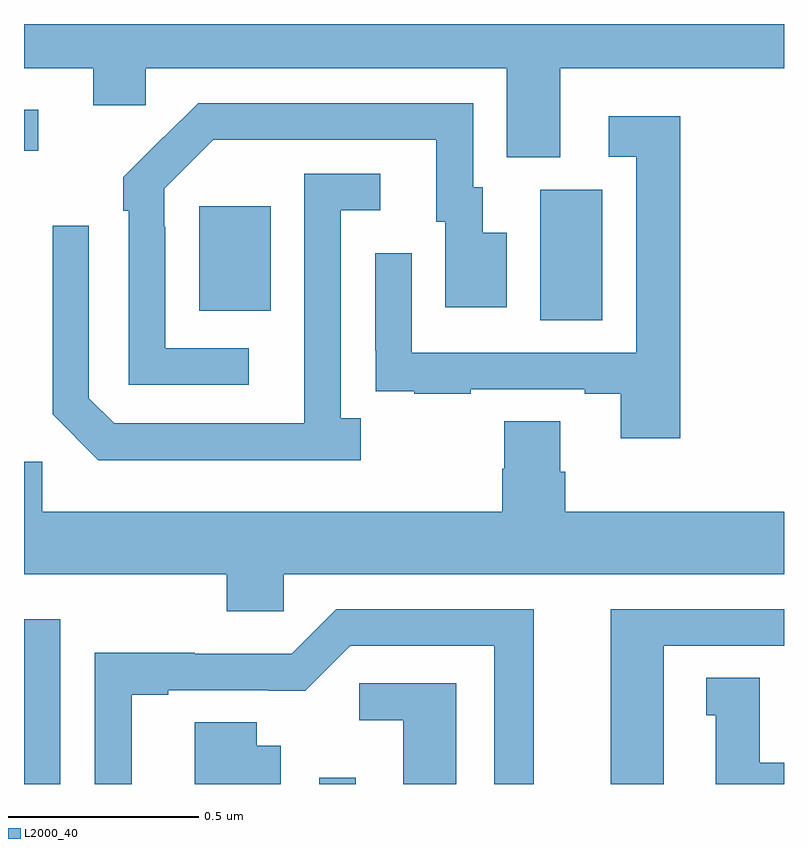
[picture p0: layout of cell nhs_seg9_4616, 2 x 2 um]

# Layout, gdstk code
import gdstk
lib = gdstk.Library(unit=1e-6, precision=1e-09)
def R(c, l, rs):  # rectangles x0, y0, x1, y1
    for r in rs: c.add(gdstk.rectangle(r[:2], r[2:], *l))
def P(c, l, *ps):  # polygons
    for p in ps: c.add(gdstk.Polygon(p, *l))
L2000_40 = (2000, 40)

nhs_seg9_4616 = lib.new_cell('nhs_seg9_4616')
R(nhs_seg9_4616, L2000_40, [(168,1230.5,168.096,1230.933), (168.777,1230.5,168.873,1230.517), (169.358,1231.72,169.522,1232.064), (168.461,1231.745,168.649,1232.02), (168,1232.166,168.037,1232.274)])
P(nhs_seg9_4616, L2000_40, [(169.411,1232.384),(170,1232.384),(170,1232.5),(168,1232.5),(168,1232.384),(168.182,1232.384),(168.182,1232.286),(168.321,1232.286),(168.321,1232.384),(169.271,1232.384),(169.271,1232.149),(169.411,1232.149)],
  [(168.592,1231.647),(168.372,1231.647),(168.372,1231.967),(168.369,1231.967),(168.369,1232.067),(168.498,1232.196),(169.085,1232.196),(169.085,1231.98),(169.109,1231.98),(169.109,1231.755),(169.27,1231.755),(169.27,1231.951),(169.207,1231.951),(169.207,1232.07),(169.182,1232.07),(169.182,1232.292),(168.458,1232.292),(168.367,1232.201),(168.366,1232.202),(168.261,1232.097),(168.261,1232.009),(168.276,1232.009),(168.276,1231.551),(168.592,1231.551)],
  [(169.727,1232.257),(169.539,1232.257),(169.539,1232.151),(169.611,1232.151),(169.611,1231.635),(169.02,1231.635),(169.02,1231.897),(168.924,1231.897),(168.924,1231.642),(168.925,1231.642),(168.925,1231.533),(169.027,1231.533),(169.027,1231.527),(169.175,1231.527),(169.175,1231.539),(169.475,1231.539),(169.475,1231.527),(169.571,1231.527),(169.571,1231.41),(169.727,1231.41)],
  [(168.886,1231.462),(168.834,1231.462),(168.834,1232.01),(168.937,1232.01),(168.937,1232.106),(168.738,1232.106),(168.738,1231.649),(168.737,1231.649),(168.737,1231.449),(168.237,1231.449),(168.171,1231.515),(168.171,1231.969),(168.075,1231.969),(168.075,1231.473),(168.196,1231.352),(168.886,1231.352)],
  [(168.684,1231.052),(170,1231.052),(170,1231.216),(169.424,1231.216),(169.424,1231.322),(169.411,1231.322),(169.411,1231.454),(169.264,1231.454),(169.264,1231.329),(169.259,1231.329),(169.259,1231.216),(168.048,1231.216),(168.048,1231.348),(168,1231.348),(168,1231.052),(168.533,1231.052),(168.533,1230.954),(168.684,1230.954)],
  [(168.283,1230.735),(168.379,1230.735),(168.379,1230.747),(168.644,1230.747),(168.644,1230.746),(168.74,1230.746),(168.858,1230.864),(169.238,1230.864),(169.238,1230.5),(169.342,1230.5),(169.342,1230.96),(168.822,1230.96),(168.705,1230.843),(168.449,1230.843),(168.449,1230.845),(168.186,1230.845),(168.186,1230.5),(168.283,1230.5)],
  [(169.684,1230.864),(170,1230.864),(170,1230.96),(169.544,1230.96),(169.544,1230.5),(169.684,1230.5)],
  [(170,1230.556),(169.936,1230.556),(169.936,1230.779),(169.796,1230.779),(169.796,1230.681),(169.82,1230.681),(169.82,1230.5),(170,1230.5)],
  [(169.138,1230.765),(168.882,1230.765),(168.882,1230.668),(168.998,1230.668),(168.998,1230.5),(169.138,1230.5)],
  [(168.676,1230.601),(168.613,1230.601),(168.613,1230.662),(168.449,1230.662),(168.449,1230.5),(168.676,1230.5)])

lib.write_gds('nhs_seg9_4616.gds')
